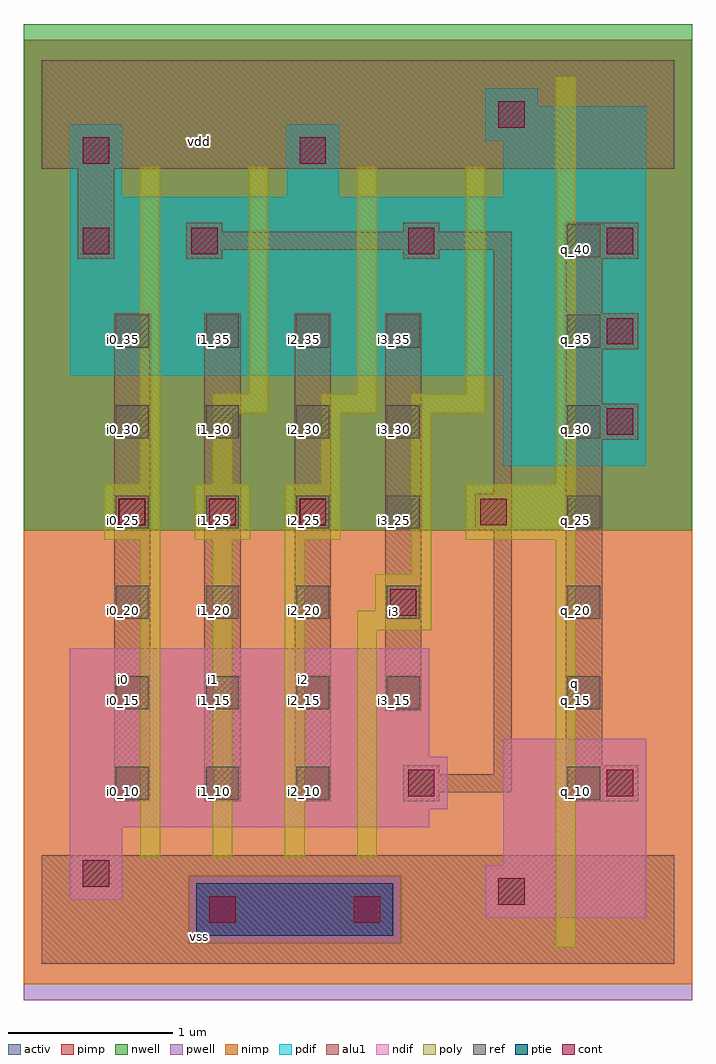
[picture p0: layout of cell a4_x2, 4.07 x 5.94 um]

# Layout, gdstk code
import gdstk
lib = gdstk.Library(unit=1e-6, precision=2.5e-09)
def R(c, l, rs):  # rectangles x0, y0, x1, y1
    for r in rs: c.add(gdstk.rectangle(r[:2], r[2:], *l))
def A(c, l, x, y, w, h, nx, ny, dx, dy):  # array of equal rectangles
    R(c, l, [(x+i*dx, y+j*dy, x+i*dx+w, y+j*dy+h) for i in range(nx) for j in range(ny)])
ndif = (3, 0)
pdif = (4, 0)
ptie = (6, 0)
ref = (24, 0)
cont = (25, 0)
pwell = (41, 0)
nwell = (42, 0)
activ = (43, 0)
pimp = (44, 0)
nimp = (45, 0)
poly = (46, 0)
alu1 = (49, 0)

a4_x2 = lib.new_cell('a4_x2')
R(a4_x2, ndif, [(2.7,0.28,3.68,0.6), (2.7,0.28,3.68,0.6), (0.17,0.39,0.49,0.83), (0.17,0.39,0.49,0.83), (2.81,0.6,3.68,1.37), (2.81,0.6,3.68,1.37), (0.17,0.83,2.36,0.94), (0.17,0.83,2.36,0.94), (0.17,0.94,2.47,1.26), (0.17,0.94,2.47,1.26), (0.17,1.26,2.36,1.92), (0.17,1.26,2.36,1.92)])
R(a4_x2, pdif, [(2.81,3.03,3.68,3.58), (2.81,3.03,3.68,3.58), (0.17,3.58,3.68,4.67), (0.17,3.58,3.68,4.67), (0.17,4.67,0.49,5.11), (0.17,4.67,0.49,5.11), (1.49,4.67,1.81,5.11), (1.49,4.67,1.81,5.11), (2.81,4.67,3.68,5.01), (2.81,4.67,3.68,5.01), (2.7,5.01,3.68,5.22), (2.7,5.01,3.68,5.22), (2.7,5.22,3.02,5.33), (2.7,5.22,3.02,5.33)])
R(a4_x2, ptie, [(0.94,0.17,2.14,0.49), (0.94,0.17,2.14,0.49)])
A(a4_x2, ref, 0.45, 1, 0.2, 0.2, 3, 1, 0.55, 0)
A(a4_x2, ref, 3.2, 1, 0.2, 0.2, 1, 7, 0, 0.55)
A(a4_x2, ref, 0.45, 1.55, 0.2, 0.2, 4, 5, 0.55, 0.55)
A(a4_x2, cont, 0.47, 2.67, 0.16, 0.16, 3, 1, 0.55, 0)
A(a4_x2, cont, 3.44, 3.22, 0.16, 0.16, 1, 3, 0, 0.55)
R(a4_x2, cont, [(1.02,0.25,1.18,0.41), (1.9,0.25,2.06,0.41), (2.78,0.36,2.94,0.52), (0.25,0.47,0.41,0.63), (2.23,1.02,2.39,1.18), (3.44,1.02,3.6,1.18), (2.12,2.12,2.28,2.28), (2.67,2.67,2.83,2.83), (0.25,4.32,0.41,4.48), (0.91,4.32,1.07,4.48), (2.23,4.32,2.39,4.48), (0.25,4.87,0.41,5.03), (1.57,4.87,1.73,5.03), (2.78,5.09,2.94,5.25)])
R(a4_x2, pwell, [(-0.11,-0.22,3.96,2.64)])
R(a4_x2, nwell, [(-0.11,2.64,3.96,5.72)])
R(a4_x2, activ, [(0.94,0.17,2.14,0.49), (0.94,0.17,2.14,0.49), (2.7,0.28,3.68,0.6), (2.7,0.28,3.68,0.6), (0.17,0.39,0.49,0.83), (0.17,0.39,0.49,0.83), (2.81,0.6,3.68,1.37), (2.81,0.6,3.68,1.37), (0.17,0.83,2.36,0.94), (0.17,0.83,2.36,0.94), (0.17,0.94,2.47,1.26), (0.17,0.94,2.47,1.26), (0.17,1.26,2.36,1.92), (0.17,1.26,2.36,1.92), (2.81,3.03,3.68,3.58), (2.81,3.03,3.68,3.58), (0.17,3.58,3.68,4.67), (0.17,3.58,3.68,4.67), (0.17,4.67,0.49,5.11), (0.17,4.67,0.49,5.11), (1.49,4.67,1.81,5.11), (1.49,4.67,1.81,5.11), (2.81,4.67,3.68,5.01), (2.81,4.67,3.68,5.01), (2.7,5.01,3.68,5.22), (2.7,5.01,3.68,5.22), (2.7,5.22,3.02,5.33), (2.7,5.22,3.02,5.33)])
R(a4_x2, pimp, [(0.895,0.125,2.185,0.535), (-0.11,2.64,3.96,5.625)])
R(a4_x2, nimp, [(-0.11,-0.125,3.96,0.125), (-0.11,0.125,0.895,0.535), (2.185,0.125,3.96,0.535), (-0.11,0.535,3.96,2.64)])
A(a4_x2, poly, 0.6, 0.65, 0.12, 1.93, 3, 1, 0.44, 0)
A(a4_x2, poly, 0.38, 2.58, 0.34, 0.34, 3, 1, 0.55, 0)
A(a4_x2, poly, 1.26, 3.47, 0.12, 1.38, 3, 1, 0.66, 0)
R(a4_x2, poly, [(3.13,0.1,3.25,2.58), (1.92,0.65,2.04,2.03), (1.92,2.03,2.37,2.15), (2.03,2.15,2.37,2.37), (2.25,2.37,2.37,3.35), (2.58,2.58,3.25,2.92), (0.6,2.92,0.72,4.85), (1.04,2.92,1.16,3.35), (1.7,2.92,1.82,3.35), (3.13,2.92,3.25,5.4), (1.04,3.35,1.38,3.47), (1.7,3.35,2.04,3.47), (2.25,3.35,2.7,3.47)])
A(a4_x2, alu1, 0.44, 0.99, 0.22, 2.97, 3, 1, 0.55, 0)
A(a4_x2, alu1, 3.19, 3.19, 0.44, 0.22, 1, 3, 0, 0.55)
R(a4_x2, alu1, [(0,0,3.85,0.66), (2.2,0.99,2.42,1.045), (3.19,0.99,3.63,1.21), (2.2,1.045,2.86,1.155), (2.2,1.155,2.42,1.21), (2.75,1.155,2.86,2.64), (3.19,1.21,3.41,3.19), (2.09,1.54,2.31,3.96), (2.64,2.64,2.86,2.86), (2.75,2.86,2.86,4.345), (3.19,3.41,3.41,3.74), (3.19,3.96,3.41,4.29), (0.22,4.29,0.44,4.84), (0.88,4.29,1.1,4.345), (2.2,4.29,2.42,4.345), (0.88,4.345,2.86,4.455), (0.88,4.455,1.1,4.51), (2.2,4.455,2.42,4.51), (0,4.84,3.85,5.5)])
a4_x2.add(gdstk.Label('vss', (0.9625,0.165), layer=49, texttype=0))
a4_x2.add(gdstk.Label('q', (3.245,1.705), layer=49, texttype=0))
a4_x2.add(gdstk.Label('i3', (2.145,2.145), layer=49, texttype=0))
a4_x2.add(gdstk.Label('i2', (1.595,1.7325), layer=49, texttype=0))
a4_x2.add(gdstk.Label('i1', (1.045,1.7325), layer=49, texttype=0))
a4_x2.add(gdstk.Label('i0', (0.495,1.7325), layer=49, texttype=0))
a4_x2.add(gdstk.Label('vdd', (0.9625,5.005), layer=49, texttype=0))
a4_x2.add(gdstk.Label('i2_10', (1.6,1.05), layer=24, texttype=0))
a4_x2.add(gdstk.Label('i1_10', (1.05,1.05), layer=24, texttype=0))
a4_x2.add(gdstk.Label('i0_10', (0.5,1.05), layer=24, texttype=0))
a4_x2.add(gdstk.Label('q_10', (3.25,1.05), layer=24, texttype=0))
a4_x2.add(gdstk.Label('q_15', (3.25,1.6), layer=24, texttype=0))
a4_x2.add(gdstk.Label('q_20', (3.25,2.15), layer=24, texttype=0))
a4_x2.add(gdstk.Label('q_25', (3.25,2.7), layer=24, texttype=0))
a4_x2.add(gdstk.Label('q_30', (3.25,3.25), layer=24, texttype=0))
a4_x2.add(gdstk.Label('q_35', (3.25,3.8), layer=24, texttype=0))
a4_x2.add(gdstk.Label('q_40', (3.25,4.35), layer=24, texttype=0))
a4_x2.add(gdstk.Label('i1_25', (1.05,2.7), layer=24, texttype=0))
a4_x2.add(gdstk.Label('i1_20', (1.05,2.15), layer=24, texttype=0))
a4_x2.add(gdstk.Label('i1_15', (1.05,1.6), layer=24, texttype=0))
a4_x2.add(gdstk.Label('i2_15', (1.6,1.6), layer=24, texttype=0))
a4_x2.add(gdstk.Label('i2_20', (1.6,2.15), layer=24, texttype=0))
a4_x2.add(gdstk.Label('i1_35', (1.05,3.8), layer=24, texttype=0))
a4_x2.add(gdstk.Label('i2_30', (1.6,3.25), layer=24, texttype=0))
a4_x2.add(gdstk.Label('i2_35', (1.6,3.8), layer=24, texttype=0))
a4_x2.add(gdstk.Label('i3_35', (2.15,3.8), layer=24, texttype=0))
a4_x2.add(gdstk.Label('i3_30', (2.15,3.25), layer=24, texttype=0))
a4_x2.add(gdstk.Label('i3_25', (2.15,2.7), layer=24, texttype=0))
a4_x2.add(gdstk.Label('i3_20', (2.15,2.15), layer=24, texttype=0))
a4_x2.add(gdstk.Label('i3_15', (2.15,1.6), layer=24, texttype=0))
a4_x2.add(gdstk.Label('i1_30', (1.05,3.25), layer=24, texttype=0))
a4_x2.add(gdstk.Label('i2_25', (1.6,2.7), layer=24, texttype=0))
a4_x2.add(gdstk.Label('i0_35', (0.5,3.8), layer=24, texttype=0))
a4_x2.add(gdstk.Label('i0_30', (0.5,3.25), layer=24, texttype=0))
a4_x2.add(gdstk.Label('i0_25', (0.5,2.7), layer=24, texttype=0))
a4_x2.add(gdstk.Label('i0_20', (0.5,2.15), layer=24, texttype=0))
a4_x2.add(gdstk.Label('i0_15', (0.5,1.6), layer=24, texttype=0))

lib.write_gds('a4_x2.gds')
